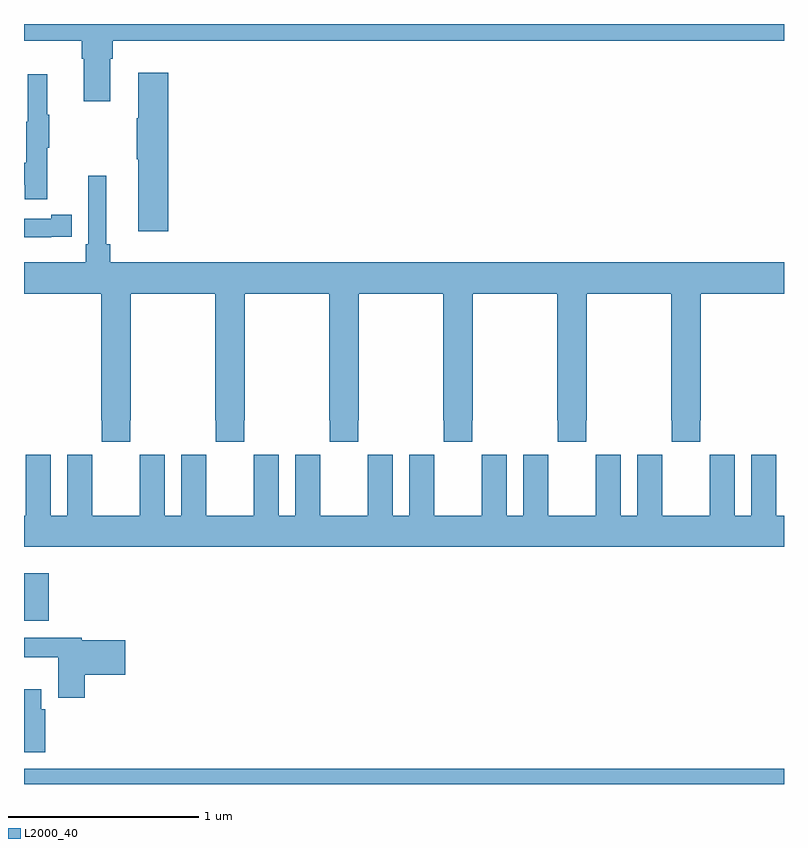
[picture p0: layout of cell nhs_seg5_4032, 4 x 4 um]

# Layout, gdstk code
import gdstk
lib = gdstk.Library(unit=1e-6, precision=1e-09)
def R(c, l, rs):  # rectangles x0, y0, x1, y1
    for r in rs: c.add(gdstk.rectangle(r[:2], r[2:], *l))
def P(c, l, *ps):  # polygons
    for p in ps: c.add(gdstk.Polygon(p, *l))
L2000_40 = (2000, 40)

nhs_seg5_4032 = lib.new_cell('nhs_seg5_4032')
R(nhs_seg5_4032, L2000_40, [(347,900.799,351,900.88), (347,901.659,347.129,901.909)])
P(nhs_seg5_4032, L2000_40, [(347.455,904.616),(347.468,904.616),(347.468,904.712),(351,904.712),(351,904.799),(347,904.799),(347,904.712),(347.303,904.712),(347.303,904.616),(347.315,904.616),(347.315,904.392),(347.455,904.392)],
  [(347.759,904.543),(347.6,904.543),(347.6,904.304),(347.593,904.304),(347.593,904.087),(347.6,904.087),(347.6,903.708),(347.759,903.708)],
  [(347.123,904.147),(347.134,904.147),(347.134,904.321),(347.123,904.321),(347.123,904.534),(347.02,904.534),(347.02,904.284),(347.013,904.284),(347.013,904.07),(347,904.07),(347,903.954),(347.005,903.954),(347.005,903.876),(347.123,903.876)],
  [(347.144,903.678),(347.252,903.678),(347.252,903.794),(347.144,903.794),(347.144,903.774),(347,903.774),(347,903.677),(347.144,903.677)],
  [(347.453,903.64),(347.434,903.64),(347.434,904),(347.337,904),(347.337,903.64),(347.324,903.64),(347.324,903.544),(347,903.544),(347,903.38),(347.407,903.38),(347.407,902.713),(347.409,902.713),(347.409,902.601),(347.559,902.601),(347.559,902.713),(347.562,902.713),(347.562,903.38),(348.007,903.38),(348.007,902.713),(348.009,902.713),(348.009,902.601),(348.159,902.601),(348.159,902.713),(348.162,902.713),(348.162,903.38),(348.607,903.38),(348.607,902.713),(348.609,902.713),(348.609,902.601),(348.759,902.601),(348.759,902.713),(348.762,902.713),(348.762,903.38),(349.207,903.38),(349.207,902.713),(349.209,902.713),(349.209,902.601),(349.359,902.601),(349.359,902.713),(349.362,902.713),(349.362,903.38),(349.807,903.38),(349.807,902.713),(349.809,902.713),(349.809,902.601),(349.959,902.601),(349.959,902.713),(349.962,902.713),(349.962,903.38),(350.407,903.38),(350.407,902.713),(350.409,902.713),(350.409,902.601),(350.559,902.601),(350.559,902.713),(350.562,902.713),(350.562,903.38),(351,903.38),(351,903.544),(347.453,903.544)],
  [(351,902.212),(350.959,902.212),(350.959,902.42),(350.958,902.42),(350.958,902.533),(350.828,902.533),(350.828,902.212),(350.74,902.212),(350.74,902.533),(350.61,902.533),(350.61,902.42),(350.609,902.42),(350.609,902.212),(350.359,902.212),(350.359,902.42),(350.358,902.42),(350.358,902.533),(350.228,902.533),(350.228,902.212),(350.14,902.212),(350.14,902.533),(350.01,902.533),(350.01,902.42),(350.009,902.42),(350.009,902.212),(349.759,902.212),(349.759,902.42),(349.758,902.42),(349.758,902.533),(349.628,902.533),(349.628,902.212),(349.54,902.212),(349.54,902.533),(349.41,902.533),(349.41,902.42),(349.409,902.42),(349.409,902.212),(349.159,902.212),(349.159,902.42),(349.158,902.42),(349.158,902.533),(349.028,902.533),(349.028,902.212),(348.94,902.212),(348.94,902.533),(348.81,902.533),(348.81,902.42),(348.809,902.42),(348.809,902.212),(348.559,902.212),(348.559,902.42),(348.558,902.42),(348.558,902.533),(348.428,902.533),(348.428,902.212),(348.34,902.212),(348.34,902.533),(348.21,902.533),(348.21,902.42),(348.209,902.42),(348.209,902.212),(347.959,902.212),(347.959,902.42),(347.958,902.42),(347.958,902.533),(347.828,902.533),(347.828,902.212),(347.74,902.212),(347.74,902.533),(347.61,902.533),(347.61,902.42),(347.609,902.42),(347.609,902.212),(347.359,902.212),(347.359,902.42),(347.358,902.42),(347.358,902.533),(347.228,902.533),(347.228,902.212),(347.14,902.212),(347.14,902.533),(347.01,902.533),(347.01,902.42),(347.009,902.42),(347.009,902.212),(347,902.212),(347,902.048),(351,902.048)],
  [(347.321,901.373),(347.533,901.373),(347.533,901.556),(347.304,901.556),(347.304,901.57),(347,901.57),(347,901.466),(347.18,901.466),(347.18,901.254),(347.321,901.254)],
  [(347.111,901.193),(347.091,901.193),(347.091,901.297),(347,901.297),(347,900.965),(347.111,900.965)])

lib.write_gds('nhs_seg5_4032.gds')
